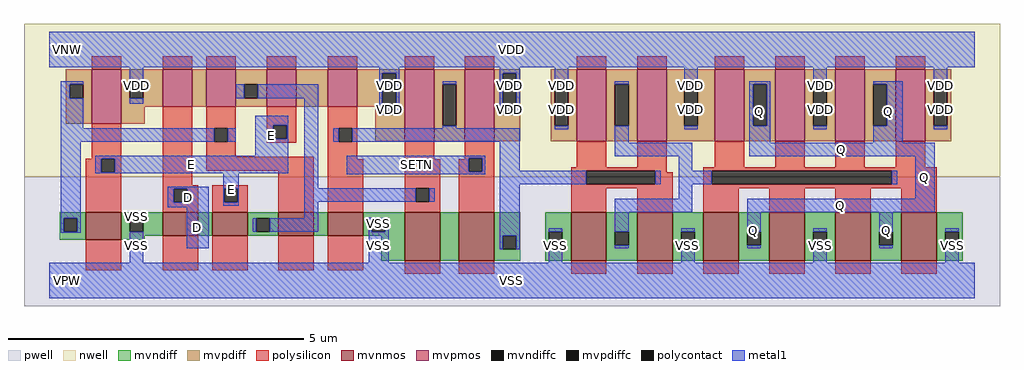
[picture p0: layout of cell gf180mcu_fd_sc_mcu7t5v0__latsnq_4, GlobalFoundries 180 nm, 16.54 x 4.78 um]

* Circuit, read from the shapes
.subckt gf180mcu_fd_sc_mcu7t5v0__latsnq_4 D E SETN Q VDD VNW VPW VSS
XM1 VSS E n1 VPW nfet_06v0 w=0.465u l=0.6u
XM2 n2 D VSS VPW nfet_06v0 w=0.395u l=0.6u
XM3 n3 E n2 VPW nfet_06v0 w=0.395u l=0.6u
XM4 n4 n1 n3 VPW nfet_06v0 w=0.395u l=0.6u
XM5 VSS n5 n4 VPW nfet_06v0 w=0.395u l=0.6u
XM6 n6 n3 VSS VPW nfet_06v0 w=0.82u l=0.6u
XM7 n5 SETN n6 VPW nfet_06v0 w=0.82u l=0.6u
XM8 n7 n5 VSS VPW nfet_06v0 w=0.82u l=0.6u m=2
XM9 Q n7 VSS VPW nfet_06v0 w=0.82u l=0.6u m=4
XM10 VDD E n1 VNW pfet_06v0 w=0.925u l=0.5u
XM11 n8 D VDD VNW pfet_06v0 w=0.63u l=0.5u
XM12 n3 n1 n8 VNW pfet_06v0 w=0.63u l=0.5u
XM13 n9 E n3 VNW pfet_06v0 w=0.63u l=0.5u
XM14 VDD n5 n9 VNW pfet_06v0 w=0.63u l=0.5u
XM15 n5 n3 VDD VNW pfet_06v0 w=1.22u l=0.5u
XM16 VDD SETN n5 VNW pfet_06v0 w=1.22u l=0.5u
XM17 n7 n5 VDD VNW pfet_06v0 w=1.22u l=0.5u m=2
XM18 Q n7 VDD VNW pfet_06v0 w=1.22u l=0.5u m=4
.ends

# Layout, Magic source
magic
tech gf180mcuD
magscale 1 10
<< nwell >>
rect -86 352 3222 870
<< pwell >>
rect -86 -86 3222 352
<< mvnmos >>
rect 124 139 244 232
rect 384 153 504 232
rect 552 153 672 232
rect 776 153 896 232
rect 944 153 1064 232
rect 1204 68 1324 232
rect 1388 68 1508 232
rect 1768 68 1888 232
rect 1992 68 2112 232
rect 2216 68 2336 232
rect 2440 68 2560 232
rect 2664 68 2784 232
rect 2888 68 3008 232
<< mvpmos >>
rect 144 531 244 716
rect 384 590 484 716
rect 532 590 632 716
rect 736 590 836 716
rect 944 590 1044 716
rect 1204 472 1304 716
rect 1408 472 1508 716
rect 1788 472 1888 716
rect 1992 472 2092 716
rect 2256 472 2356 716
rect 2460 472 2560 716
rect 2664 472 2764 716
rect 2868 472 2968 716
<< mvndiff >>
rect 36 212 124 232
rect 36 166 49 212
rect 95 166 124 212
rect 36 139 124 166
rect 244 212 384 232
rect 244 166 273 212
rect 319 166 384 212
rect 244 153 384 166
rect 504 153 552 232
rect 672 212 776 232
rect 672 166 701 212
rect 747 166 776 212
rect 672 153 776 166
rect 896 153 944 232
rect 1064 212 1204 232
rect 1064 166 1093 212
rect 1139 166 1204 212
rect 1064 153 1204 166
rect 244 139 324 153
rect 1124 68 1204 153
rect 1324 68 1388 232
rect 1508 152 1596 232
rect 1508 106 1537 152
rect 1583 106 1596 152
rect 1508 68 1596 106
rect 1680 166 1768 232
rect 1680 120 1693 166
rect 1739 120 1768 166
rect 1680 68 1768 120
rect 1888 166 1992 232
rect 1888 120 1917 166
rect 1963 120 1992 166
rect 1888 68 1992 120
rect 2112 166 2216 232
rect 2112 120 2141 166
rect 2187 120 2216 166
rect 2112 68 2216 120
rect 2336 166 2440 232
rect 2336 120 2365 166
rect 2411 120 2440 166
rect 2336 68 2440 120
rect 2560 166 2664 232
rect 2560 120 2589 166
rect 2635 120 2664 166
rect 2560 68 2664 120
rect 2784 166 2888 232
rect 2784 120 2813 166
rect 2859 120 2888 166
rect 2784 68 2888 120
rect 3008 166 3096 232
rect 3008 120 3037 166
rect 3083 120 3096 166
rect 3008 68 3096 120
<< mvpdiff >>
rect 56 665 144 716
rect 56 619 69 665
rect 115 619 144 665
rect 56 531 144 619
rect 244 665 384 716
rect 244 619 273 665
rect 319 619 384 665
rect 244 590 384 619
rect 484 590 532 716
rect 632 665 736 716
rect 632 619 661 665
rect 707 619 736 665
rect 632 590 736 619
rect 836 590 944 716
rect 1044 703 1204 716
rect 1044 590 1129 703
rect 244 531 324 590
rect 1104 563 1129 590
rect 1175 563 1204 703
rect 1104 472 1204 563
rect 1304 665 1408 716
rect 1304 525 1333 665
rect 1379 525 1408 665
rect 1304 472 1408 525
rect 1508 703 1596 716
rect 1508 563 1537 703
rect 1583 563 1596 703
rect 1508 472 1596 563
rect 1700 665 1788 716
rect 1700 525 1713 665
rect 1759 525 1788 665
rect 1700 472 1788 525
rect 1888 665 1992 716
rect 1888 525 1917 665
rect 1963 525 1992 665
rect 1888 472 1992 525
rect 2092 665 2256 716
rect 2092 525 2151 665
rect 2197 525 2256 665
rect 2092 472 2256 525
rect 2356 665 2460 716
rect 2356 525 2385 665
rect 2431 525 2460 665
rect 2356 472 2460 525
rect 2560 665 2664 716
rect 2560 525 2589 665
rect 2635 525 2664 665
rect 2560 472 2664 525
rect 2764 665 2868 716
rect 2764 525 2793 665
rect 2839 525 2868 665
rect 2764 472 2868 525
rect 2968 665 3056 716
rect 2968 525 2997 665
rect 3043 525 3056 665
rect 2968 472 3056 525
<< mvndiffc >>
rect 49 166 95 212
rect 273 166 319 212
rect 701 166 747 212
rect 1093 166 1139 212
rect 1537 106 1583 152
rect 1693 120 1739 166
rect 1917 120 1963 166
rect 2141 120 2187 166
rect 2365 120 2411 166
rect 2589 120 2635 166
rect 2813 120 2859 166
rect 3037 120 3083 166
<< mvpdiffc >>
rect 69 619 115 665
rect 273 619 319 665
rect 661 619 707 665
rect 1129 563 1175 703
rect 1333 525 1379 665
rect 1537 563 1583 703
rect 1713 525 1759 665
rect 1917 525 1963 665
rect 2151 525 2197 665
rect 2385 525 2431 665
rect 2589 525 2635 665
rect 2793 525 2839 665
rect 2997 525 3043 665
<< polysilicon >>
rect 144 716 244 760
rect 384 716 484 760
rect 532 716 632 760
rect 736 716 836 760
rect 944 716 1044 760
rect 1204 716 1304 760
rect 1408 716 1508 760
rect 1788 716 1888 760
rect 1992 716 2092 760
rect 2256 716 2356 760
rect 2460 716 2560 760
rect 2664 716 2764 760
rect 2868 716 2968 760
rect 144 413 244 531
rect 124 367 175 413
rect 221 367 244 413
rect 124 232 244 367
rect 384 324 484 590
rect 532 516 632 590
rect 532 470 559 516
rect 605 470 632 516
rect 532 420 632 470
rect 736 527 836 590
rect 736 481 759 527
rect 805 481 836 527
rect 736 468 836 481
rect 944 516 1044 590
rect 944 470 981 516
rect 1027 470 1044 516
rect 532 372 896 420
rect 384 311 504 324
rect 384 265 421 311
rect 467 265 504 311
rect 384 232 504 265
rect 552 311 672 324
rect 552 265 593 311
rect 639 265 672 311
rect 552 232 672 265
rect 776 232 896 372
rect 944 412 1044 470
rect 1204 412 1304 472
rect 1408 415 1508 472
rect 1408 412 1421 415
rect 944 232 1064 412
rect 1204 314 1324 412
rect 1204 268 1241 314
rect 1287 268 1324 314
rect 1204 232 1324 268
rect 1388 369 1421 412
rect 1467 369 1508 415
rect 1788 385 1888 472
rect 1992 385 2092 472
rect 2256 385 2356 472
rect 2460 385 2560 472
rect 2664 385 2764 472
rect 2868 385 2968 472
rect 1388 232 1508 369
rect 1768 372 2092 385
rect 1768 326 1819 372
rect 2053 368 2092 372
rect 2216 372 3008 385
rect 2053 326 2112 368
rect 1768 313 2112 326
rect 1768 232 1888 313
rect 1992 232 2112 313
rect 2216 326 2245 372
rect 2855 326 3008 372
rect 2216 313 3008 326
rect 2216 232 2336 313
rect 2440 232 2560 313
rect 2664 232 2784 313
rect 2888 232 3008 313
rect 124 35 244 139
rect 384 35 504 153
rect 552 35 672 153
rect 776 35 896 153
rect 944 35 1064 153
rect 1204 24 1324 68
rect 1388 24 1508 68
rect 1768 24 1888 68
rect 1992 24 2112 68
rect 2216 24 2336 68
rect 2440 24 2560 68
rect 2664 24 2784 68
rect 2888 24 3008 68
<< polycontact >>
rect 175 367 221 413
rect 559 470 605 516
rect 759 481 805 527
rect 981 470 1027 516
rect 421 265 467 311
rect 593 265 639 311
rect 1241 268 1287 314
rect 1421 369 1467 415
rect 1819 326 2053 372
rect 2245 326 2855 372
<< metal1 >>
rect 0 724 3136 844
rect 38 665 115 676
rect 38 619 69 665
rect 38 516 115 619
rect 273 665 319 724
rect 1118 703 1186 724
rect 632 619 661 665
rect 707 619 912 665
rect 273 600 319 619
rect 698 527 809 559
rect 38 470 559 516
rect 605 470 632 516
rect 698 481 759 527
rect 805 481 809 527
rect 38 212 106 470
rect 698 424 809 481
rect 156 413 809 424
rect 156 367 175 413
rect 221 367 809 413
rect 156 364 809 367
rect 402 311 540 318
rect 402 265 421 311
rect 467 265 540 311
rect 402 248 540 265
rect 590 311 642 364
rect 590 265 593 311
rect 639 265 642 311
rect 590 254 642 265
rect 864 314 912 619
rect 1118 563 1129 703
rect 1175 563 1186 703
rect 1526 703 1594 724
rect 1333 665 1379 676
rect 1526 563 1537 703
rect 1583 563 1594 703
rect 1713 665 1759 724
rect 1333 516 1379 525
rect 962 470 981 516
rect 1027 470 1594 516
rect 1713 514 1759 525
rect 1917 665 1963 676
rect 1008 415 1478 424
rect 1008 369 1421 415
rect 1467 369 1478 415
rect 1008 360 1478 369
rect 1526 372 1594 470
rect 1917 468 1963 525
rect 2151 665 2197 724
rect 2151 514 2197 525
rect 2372 665 2444 676
rect 2372 525 2385 665
rect 2431 525 2444 665
rect 2372 468 2444 525
rect 2589 665 2635 724
rect 2589 514 2635 525
rect 2793 665 2892 676
rect 2839 525 2892 665
rect 2793 468 2892 525
rect 2997 665 3043 724
rect 2997 514 3043 525
rect 1917 422 2179 468
rect 2372 422 3000 468
rect 2133 372 2179 422
rect 1526 326 1819 372
rect 2053 326 2072 372
rect 2133 326 2245 372
rect 2855 326 2874 372
rect 864 268 1241 314
rect 1287 268 1306 314
rect 38 166 49 212
rect 95 166 106 212
rect 38 163 106 166
rect 273 212 319 223
rect 273 60 319 166
rect 465 110 540 248
rect 864 212 912 268
rect 690 166 701 212
rect 747 166 912 212
rect 1082 212 1150 213
rect 1082 166 1093 212
rect 1139 166 1150 212
rect 1082 60 1150 166
rect 1526 152 1594 326
rect 2133 278 2179 326
rect 2934 278 3000 422
rect 1917 232 2179 278
rect 2365 232 3000 278
rect 1526 106 1537 152
rect 1583 106 1594 152
rect 1693 166 1739 177
rect 1693 60 1739 120
rect 1917 166 1963 232
rect 1917 109 1963 120
rect 2141 166 2187 177
rect 2141 60 2187 120
rect 2365 166 2411 232
rect 2365 109 2411 120
rect 2589 166 2635 177
rect 2589 60 2635 120
rect 2813 166 2859 232
rect 2813 109 2859 120
rect 3037 166 3083 177
rect 3037 60 3083 120
rect 0 -60 3136 60
<< labels >>
flabel metal1 s 2793 468 2892 676 0 FreeSans 400 0 0 0 Q
port 4 nsew default output
flabel metal1 s 402 248 540 318 0 FreeSans 400 0 0 0 D
port 1 nsew default input
flabel metal1 s 0 724 3136 844 0 FreeSans 400 0 0 0 VDD
port 5 nsew power bidirectional abutment
flabel metal1 s 1008 360 1478 424 0 FreeSans 400 0 0 0 SETN
port 3 nsew default input
flabel metal1 s 273 213 319 223 0 FreeSans 400 0 0 0 VSS
port 8 nsew ground bidirectional abutment
flabel metal1 s 698 424 809 559 0 FreeSans 400 0 0 0 E
port 2 nsew clock input
flabel nwell s 10 734 110 834 0 FreeSans 400 0 0 0 VNW
port 6 nsew power bidirectional
flabel pwell s 10 -50 110 50 0 FreeSans 400 0 0 0 VPW
port 7 nsew ground bidirectional
rlabel metal1 s 465 110 540 248 1 D
port 1 nsew default input
rlabel metal1 s 156 364 809 424 1 E
port 2 nsew clock input
rlabel metal1 s 590 254 642 364 1 E
port 2 nsew clock input
rlabel metal1 s 2372 468 2444 676 1 Q
port 4 nsew default output
rlabel metal1 s 2372 422 3000 468 1 Q
port 4 nsew default output
rlabel metal1 s 2934 278 3000 422 1 Q
port 4 nsew default output
rlabel metal1 s 2365 232 3000 278 1 Q
port 4 nsew default output
rlabel metal1 s 2813 109 2859 232 1 Q
port 4 nsew default output
rlabel metal1 s 2365 109 2411 232 1 Q
port 4 nsew default output
rlabel metal1 s 2997 600 3043 724 1 VDD
port 5 nsew power bidirectional abutment
rlabel metal1 s 2589 600 2635 724 1 VDD
port 5 nsew power bidirectional abutment
rlabel metal1 s 2151 600 2197 724 1 VDD
port 5 nsew power bidirectional abutment
rlabel metal1 s 1713 600 1759 724 1 VDD
port 5 nsew power bidirectional abutment
rlabel metal1 s 1526 600 1594 724 1 VDD
port 5 nsew power bidirectional abutment
rlabel metal1 s 1118 600 1186 724 1 VDD
port 5 nsew power bidirectional abutment
rlabel metal1 s 273 600 319 724 1 VDD
port 5 nsew power bidirectional abutment
rlabel metal1 s 2997 563 3043 600 1 VDD
port 5 nsew power bidirectional abutment
rlabel metal1 s 2589 563 2635 600 1 VDD
port 5 nsew power bidirectional abutment
rlabel metal1 s 2151 563 2197 600 1 VDD
port 5 nsew power bidirectional abutment
rlabel metal1 s 1713 563 1759 600 1 VDD
port 5 nsew power bidirectional abutment
rlabel metal1 s 1526 563 1594 600 1 VDD
port 5 nsew power bidirectional abutment
rlabel metal1 s 1118 563 1186 600 1 VDD
port 5 nsew power bidirectional abutment
rlabel metal1 s 2997 514 3043 563 1 VDD
port 5 nsew power bidirectional abutment
rlabel metal1 s 2589 514 2635 563 1 VDD
port 5 nsew power bidirectional abutment
rlabel metal1 s 2151 514 2197 563 1 VDD
port 5 nsew power bidirectional abutment
rlabel metal1 s 1713 514 1759 563 1 VDD
port 5 nsew power bidirectional abutment
rlabel metal1 s 1082 177 1150 213 1 VSS
port 8 nsew ground bidirectional abutment
rlabel metal1 s 273 177 319 213 1 VSS
port 8 nsew ground bidirectional abutment
rlabel metal1 s 3037 60 3083 177 1 VSS
port 8 nsew ground bidirectional abutment
rlabel metal1 s 2589 60 2635 177 1 VSS
port 8 nsew ground bidirectional abutment
rlabel metal1 s 2141 60 2187 177 1 VSS
port 8 nsew ground bidirectional abutment
rlabel metal1 s 1693 60 1739 177 1 VSS
port 8 nsew ground bidirectional abutment
rlabel metal1 s 1082 60 1150 177 1 VSS
port 8 nsew ground bidirectional abutment
rlabel metal1 s 273 60 319 177 1 VSS
port 8 nsew ground bidirectional abutment
rlabel metal1 s 0 -60 3136 60 1 VSS
port 8 nsew ground bidirectional abutment
<< properties >>
string FIXED_BBOX 0 0 3136 784
string GDS_END 660332
string GDS_FILE $PDKPATH/libs.ref/gf180mcu_fd_sc_mcu7t5v0/gds/gf180mcu_fd_sc_mcu7t5v0.gds
string GDS_START 652746
string LEFclass core
string LEFsite GF018hv5v_mcu_sc7
string LEFsymmetry X Y
<< end >>
